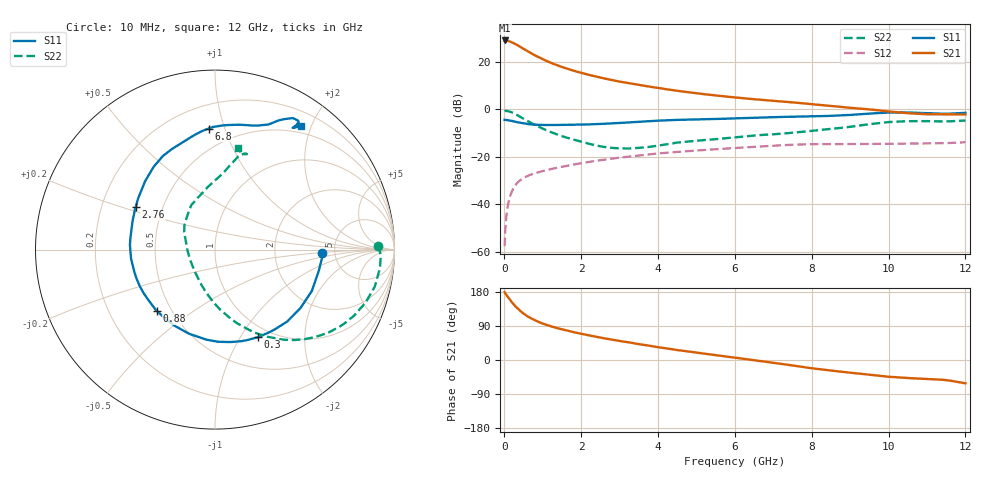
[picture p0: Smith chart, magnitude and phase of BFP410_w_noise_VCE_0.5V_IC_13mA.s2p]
! Infineon Technologies  Discrete & RF Semiconductors
! BFP410
! VCE =  0.5 V,  IC =  13 mA
! Common Emitter S-Parameters:  Nov 2015
# GHz  S  MA  R  50
!  f  S11  S21  S12  S22
! GHz  MAG  ANG  MAG  ANG  MAG  ANG  MAG  ANG
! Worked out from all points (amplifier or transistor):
!   243 points, 10 MHz to 12 GHz, reference 50 ohm
!   highest |S21| = 29.0 dB at 20 MHz (marker M1)
!   |S21| within 3 dB of that: start of sweep to 450.5 MHz
!   unconditionally stable (mu >= 1): start of sweep to 15.79 MHz; 1.921 GHz to 11.99 GHz
!   at 240 MHz: K = 0.25, MSG = 30.6 dB, |S12| = -33.3 dB
!   at 1.84 GHz: K = 0.98, MSG = 19.6 dB, |S12| = -23.2 dB
!   at 12 GHz: K = 0.99, MSG = 5.8 dB, |S12| = -13.9 dB
!   lowest NFmin = 1.42 dB at 900 MHz
!   S11 on the Smith chart (normalised r, x): 10 MHz: 3.97, -0.25; 300 MHz: 0.86, -1.19; 880 MHz: 0.42, -0.37; 2.76 GHz: 0.35, +0.22; 6.8 GHz: 0.36, +0.88; 12 GHz: 0.40, +1.84
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0.01  0.5987 -1.9  27.36 179.2  0.0013 98.6  0.911 1.4
0.02  0.5973 -4.9  28.16 177.0  0.0021 90.6  0.9243 -2.1
0.1  0.5867 -23.2  27.62 165.8  0.0099 80.7  0.914 -13.0
0.15  0.577 -34.3  26.77 158.7  0.0145 75.7  0.8893 -19.4
0.2  0.5679 -44.8  25.84 152.3  0.0186 71.4  0.8582 -25.4
0.3  0.5434 -64.1  23.5 140.6  0.0256 64.3  0.7837 -36.1
0.4  0.522 -80.7  21.11 130.8  0.0311 58.8  0.7067 -44.9
0.5  0.5044 -95.2  18.85 122.6  0.0355 54.8  0.6342 -52.4
0.6  0.4907 -107.2  16.86 115.5  0.039 51.8  0.5695 -58.7
0.7  0.4803 -118.0  15.15 109.8  0.0422 49.6  0.5147 -64.3
0.88  0.4702 -133.5  12.69 101.2  0.0469 46.9  0.4344 -72.5
1.1  0.4659 -148.6  10.43 92.6  0.0521 45.2  0.3597 -81.5
1.3  0.4663 -159.5  8.936 86.2  0.0566 44.0  0.3101 -88.8
1.6  0.4704 -172.5  7.308 78.3  0.0634 42.9  0.2559 -98.9
2.02  0.4754 172.9  5.798 68.9  0.0733 41.0  0.2047 -112.7
2.76  0.5015 151.9  4.191 54.5  0.09 36.4  0.1545 -145.0
4.1  0.578 125.0  2.73 32.4  0.1188 26.1  0.1755 160.2
6.1  0.6473 100.5  1.742 4.9  0.1539 9.8  0.2613 123.4
6.8  0.6754 93.0  1.551 -4.6  0.1664 3.5  0.2897 113.8
8.2  0.7145 76.1  1.232 -24.2  0.1838 -11.9  0.3626 94.1
10.2  0.8529 58.3  0.868 -45.5  0.1874 -27.1  0.546 74.7
12  0.8386 55.3  0.774 -61.6  0.2015 -40.5  0.5785 77.2
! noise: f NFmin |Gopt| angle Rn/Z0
0.45  1.45  0.03  -118  0.16
0.9  1.42  0.02  -123  0.16
1.8  1.53  0.08  -148  0.16
2.4  1.53  0.14  -128  0.21
5.5  2.4  0.38  -109  0.32
10  3.52  0.68  -48  2.04
